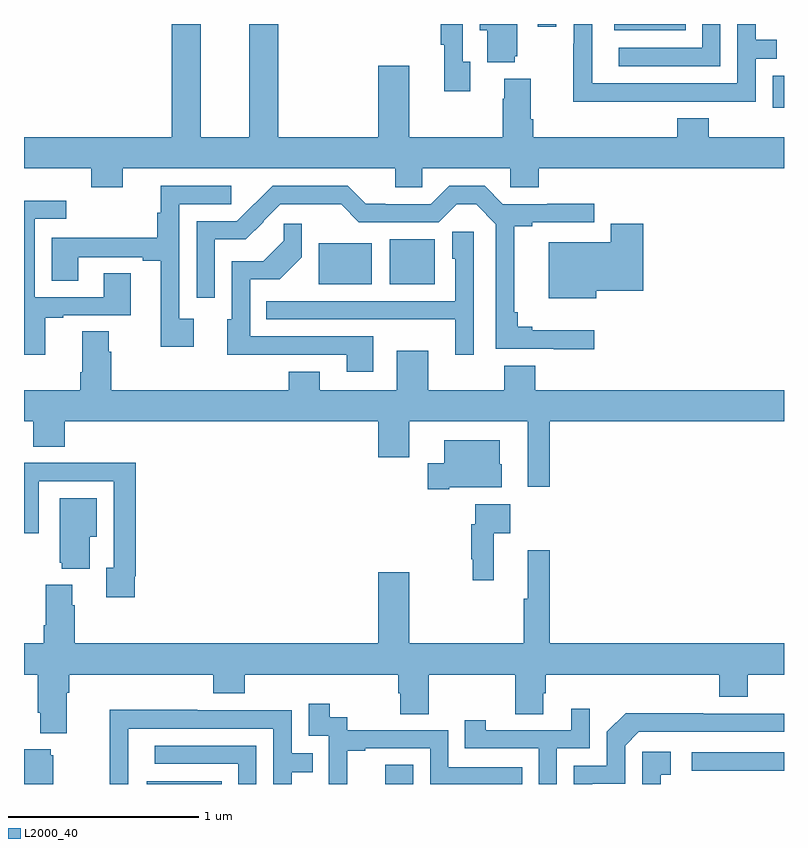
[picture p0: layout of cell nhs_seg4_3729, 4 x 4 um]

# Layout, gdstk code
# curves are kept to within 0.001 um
import gdstk
lib = gdstk.Library(unit=1e-6, precision=1e-09)
def R(c, l, rs):  # rectangles x0, y0, x1, y1
    for r in rs: c.add(gdstk.rectangle(r[:2], r[2:], *l))
def P(c, l, *ps):  # polygons
    for p in ps: c.add(gdstk.Polygon(p, *l))
L2000_40 = (2000, 40)

nhs_seg4_3729 = lib.new_cell('nhs_seg4_3729')
R(nhs_seg4_3729, L2000_40, [(307.646,806.9,308.042,806.914), (308.901,806.9,309.048,807.001), (310.515,806.97,311,807.066), (308.552,809.531,308.83,809.746), (308.924,809.531,309.163,809.767), (310.941,810.459,311,810.627), (310.106,810.866,310.484,810.9), (309.705,810.885,309.801,810.9)])
P(nhs_seg4_3729, L2000_40, [(310.355,810.492),(310.851,810.492),(310.851,810.717),(310.961,810.717),(310.961,810.818),(310.851,810.818),(310.851,810.9),(310.755,810.9),(310.755,810.588),(309.99,810.588),(309.99,810.9),(309.894,810.9),(309.894,810.797),(309.892,810.797),(309.892,810.491),(310.355,810.491)],
  [(309.584,810.729),(309.595,810.729),(309.595,810.9),(309.398,810.9),(309.398,810.866),(309.437,810.866),(309.437,810.698),(309.584,810.698)],
  [(309.349,810.702),(309.309,810.702),(309.309,810.9),(309.193,810.9),(309.193,810.79),(309.212,810.79),(309.212,810.546),(309.349,810.546)],
  [(307.519,810.14),(308.954,810.14),(308.954,810.042),(309.096,810.042),(309.096,810.14),(309.558,810.14),(309.558,810.042),(309.71,810.042),(309.71,810.14),(311,810.14),(311,810.304),(310.604,810.304),(310.604,810.403),(310.439,810.403),(310.439,810.304),(309.68,810.304),(309.68,810.4),(309.667,810.4),(309.667,810.613),(309.527,810.613),(309.527,810.506),(309.52,810.506),(309.52,810.304),(309.028,810.304),(309.028,810.679),(308.864,810.679),(308.864,810.304),(308.339,810.304),(308.339,810.9),(308.186,810.9),(308.186,810.304),(307.93,810.304),(307.93,810.9),(307.778,810.9),(307.778,810.304),(307,810.304),(307,810.14),(307.355,810.14),(307.355,810.041),(307.519,810.041)],
  [(310.665,810.9),(310.569,810.9),(310.569,810.774),(310.131,810.774),(310.131,810.678),(310.665,810.678)],
  [(310,809.287),(309.676,809.287),(309.676,809.306),(309.599,809.306),(309.599,809.383),(309.581,809.383),(309.581,809.836),(309.676,809.836),(309.676,809.856),(310,809.856),(310,809.954),(309.753,809.954),(309.753,809.952),(309.52,809.952),(309.424,810.048),(309.237,810.048),(309.141,809.952),(308.902,809.952),(308.902,809.954),(308.798,809.954),(308.703,810.048),(308.309,810.048),(308.121,809.862),(307.908,809.862),(307.908,809.46),(308.004,809.46),(308.004,809.766),(308.167,809.766),(308.261,809.86),(308.259,809.862),(308.349,809.952),(308.669,809.951),(308.763,809.856),(309.183,809.856),(309.278,809.951),(309.379,809.951),(309.483,809.847),(309.483,809.19),(310,809.189)],
  [(307.894,809.35),(307.818,809.35),(307.818,809.952),(308.091,809.952),(308.091,810.048),(307.721,810.048),(307.721,809.906),(307.702,809.906),(307.702,809.774),(307.145,809.774),(307.145,809.548),(307.285,809.548),(307.285,809.673),(307.625,809.673),(307.625,809.653),(307.721,809.653),(307.721,809.202),(307.894,809.202)],
  [(307.111,809.355),(307.207,809.355),(307.207,809.367),(307.561,809.367),(307.561,809.588),(307.421,809.588),(307.421,809.463),(307.056,809.463),(307.056,809.874),(307.222,809.874),(307.222,809.971),(307,809.971),(307,809.16),(307.111,809.16)],
  [(310.012,809.495),(310.259,809.495),(310.259,809.848),(310.088,809.848),(310.088,809.752),(309.761,809.752),(309.761,809.456),(310.012,809.456)],
  [(308.839,809.256),(308.19,809.256),(308.19,809.556),(308.347,809.556),(308.463,809.672),(308.463,809.848),(308.368,809.848),(308.368,809.76),(308.26,809.652),(308.094,809.652),(308.094,809.346),(308.069,809.346),(308.069,809.159),(308.699,809.16),(308.699,809.07),(308.839,809.07)],
  [(309.366,809.807),(309.254,809.807),(309.254,809.664),(309.27,809.664),(309.27,809.442),(308.275,809.442),(308.275,809.346),(308.935,809.346),(308.935,809.345),(309.269,809.345),(309.269,809.16),(309.366,809.16)],
  [(309.767,808.808),(311,808.808),(311,808.972),(309.691,808.972),(309.691,809.101),(309.527,809.101),(309.527,808.972),(309.127,808.972),(309.127,809.179),(308.963,809.179),(308.963,808.972),(308.557,808.972),(308.557,809.071),(308.393,809.071),(308.393,808.972),(307.46,808.972),(307.46,809.174),(307.447,809.174),(307.447,809.282),(307.307,809.282),(307.307,809.068),(307.295,809.068),(307.295,808.972),(307,808.972),(307,808.808),(307.049,808.808),(307.049,808.675),(307.214,808.675),(307.214,808.808),(308.864,808.808),(308.864,808.62),(309.028,808.62),(309.028,808.808),(309.65,808.808),(309.65,808.464),(309.767,808.464)],
  [(309.238,808.463),(309.514,808.463),(309.514,808.584),(309.505,808.584),(309.505,808.708),(309.212,808.708),(309.212,808.588),(309.126,808.588),(309.126,808.451),(309.238,808.451)],
  [(307.582,807.994),(307.589,807.994),(307.589,808.592),(307.297,808.592),(307.297,808.59),(307,808.59),(307,808.221),(307.077,808.221),(307.077,808.494),(307.473,808.494),(307.473,808.038),(307.433,808.038),(307.433,807.882),(307.582,807.882)],
  [(307.345,808.202),(307.384,808.202),(307.384,808.405),(307.187,808.405),(307.187,808.065),(307.199,808.065),(307.199,808.034),(307.345,808.034)],
  [(309.473,808.22),(309.559,808.22),(309.559,808.372),(309.375,808.372),(309.375,808.268),(309.355,808.268),(309.355,808.084),(309.363,808.084),(309.363,807.972),(309.473,807.972)],
  [(307.225,807.38),(307.238,807.38),(307.238,807.476),(307.997,807.476),(307.997,807.377),(308.162,807.377),(308.162,807.476),(308.969,807.476),(308.969,807.378),(308.981,807.378),(308.981,807.268),(309.129,807.268),(309.129,807.476),(309.586,807.476),(309.586,807.268),(309.733,807.268),(309.733,807.378),(309.746,807.378),(309.746,807.476),(310.658,807.476),(310.658,807.359),(310.81,807.359),(310.81,807.476),(311,807.476),(311,807.64),(309.767,807.64),(309.767,808.129),(309.65,808.129),(309.65,807.876),(309.631,807.876),(309.631,807.64),(309.028,807.64),(309.028,808.015),(308.864,808.015),(308.864,807.64),(307.268,807.64),(307.268,807.842),(307.255,807.842),(307.255,807.949),(307.115,807.949),(307.115,807.736),(307.103,807.736),(307.103,807.64),(307,807.64),(307,807.476),(307.073,807.476),(307.073,807.274),(307.085,807.274),(307.085,807.167),(307.225,807.167)],
  [(308.702,807.075),(308.797,807.075),(308.797,807.087),(309.138,807.087),(309.138,806.9),(309.623,806.9),(309.623,806.988),(309.234,806.988),(309.234,807.183),(308.7,807.183),(308.7,807.252),(308.608,807.252),(308.608,807.322),(308.499,807.322),(308.499,807.153),(308.604,807.153),(308.604,806.924),(308.603,806.924),(308.603,806.9),(308.702,806.9)],
  [(309.804,807.087),(309.978,807.087),(309.978,807.295),(309.881,807.295),(309.881,807.183),(309.43,807.183),(309.43,807.235),(309.319,807.235),(309.319,807.087),(309.708,807.087),(309.708,806.9),(309.804,806.9)],
  [(307.548,806.959),(307.549,806.959),(307.549,807.192),(308.313,807.192),(308.313,806.9),(308.409,806.9),(308.409,806.962),(308.519,806.962),(308.519,807.063),(308.409,807.063),(308.409,807.288),(307.913,807.288),(307.913,807.29),(307.45,807.29),(307.45,806.983),(307.452,806.983),(307.452,806.9),(307.548,806.9)],
  [(309.991,806.901),(310.164,806.901),(310.164,807.102),(310.236,807.174),(311,807.174),(311,807.27),(310.574,807.27),(310.574,807.272),(310.166,807.272),(310.068,807.174),(310.068,806.997),(309.894,806.997),(309.894,806.9)],
  [(308.223,807.102),(307.689,807.102),(307.689,807.006),(308.127,807.006),(308.127,806.9),(308.223,806.9)],
  [(307.153,807.051),(307.142,807.051),(307.142,807.082),(307,807.082),(307,806.9),(307.153,806.9)],
  [(310.352,806.949),(310.405,806.949),(310.405,807.07),(310.254,807.07),(310.254,806.9),(310.352,806.9)])

lib.write_gds('nhs_seg4_3729.gds')
